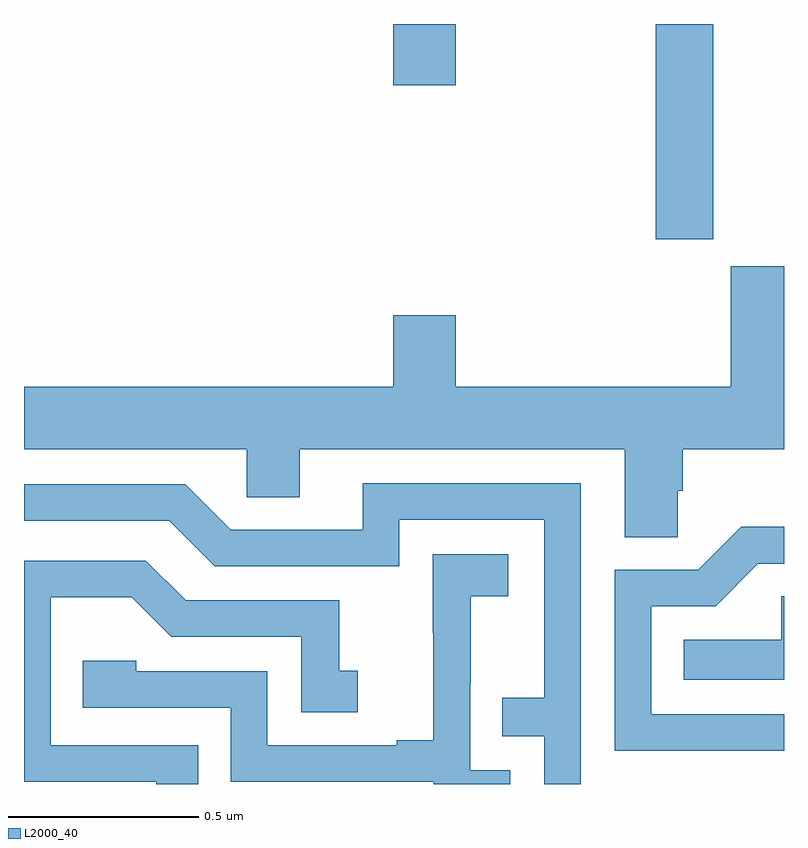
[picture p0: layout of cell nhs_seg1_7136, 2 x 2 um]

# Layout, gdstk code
import gdstk
lib = gdstk.Library(unit=1e-6, precision=1e-09)
def R(c, l, rs):  # rectangles x0, y0, x1, y1
    for r in rs: c.add(gdstk.rectangle(r[:2], r[2:], *l))
def P(c, l, *ps):  # polygons
    for p in ps: c.add(gdstk.Polygon(p, *l))
L2000_40 = (2000, 40)

nhs_seg1_7136 = lib.new_cell('nhs_seg1_7136')
R(nhs_seg1_7136, L2000_40, [(201.662,537.633,201.814,538.199), (200.972,538.038,201.136,538.199)])
P(nhs_seg1_7136, L2000_40, [(202,537.561),(201.86,537.561),(201.86,537.244),(201.136,537.244),(201.136,537.433),(200.972,537.433),(200.972,537.244),(200,537.244),(200,537.08),(200.586,537.08),(200.586,536.953),(200.725,536.953),(200.725,537.08),(201.581,537.08),(201.581,536.848),(201.72,536.848),(201.72,536.971),(201.734,536.971),(201.734,537.08),(202,537.08)],
  [(201.465,536.991),(200.891,536.991),(200.891,536.868),(200.544,536.868),(200.424,536.988),(200,536.988),(200,536.892),(200.382,536.892),(200.502,536.772),(200.988,536.772),(200.988,536.895),(201.369,536.895),(201.369,536.426),(201.259,536.426),(201.259,536.325),(201.369,536.325),(201.369,536.199),(201.465,536.199)],
  [(202,536.382),(201.651,536.382),(201.651,536.667),(201.82,536.667),(201.931,536.778),(202,536.778),(202,536.876),(201.887,536.876),(201.774,536.763),(201.555,536.763),(201.555,536.286),(202,536.286)],
  [(201.279,536.235),(201.174,536.235),(201.174,536.465),(201.176,536.465),(201.176,536.693),(201.274,536.693),(201.274,536.803),(201.076,536.803),(201.076,536.597),(201.077,536.597),(201.077,536.314),(200.981,536.314),(200.981,536.301),(200.64,536.301),(200.64,536.496),(200.295,536.496),(200.295,536.523),(200.155,536.523),(200.155,536.4),(200.544,536.4),(200.544,536.205),(201.078,536.205),(201.078,536.199),(201.279,536.199)],
  [(200.459,536.301),(200.07,536.301),(200.07,536.69),(200.284,536.69),(200.388,536.586),(200.73,536.586),(200.73,536.388),(200.878,536.388),(200.878,536.497),(200.829,536.497),(200.829,536.682),(200.425,536.682),(200.32,536.787),(200,536.787),(200,536.205),(200.348,536.205),(200.348,536.199),(200.459,536.199)],
  [(202,536.693),(201.993,536.693),(201.993,536.578),(201.736,536.578),(201.736,536.474),(202,536.474)])

lib.write_gds('nhs_seg1_7136.gds')
